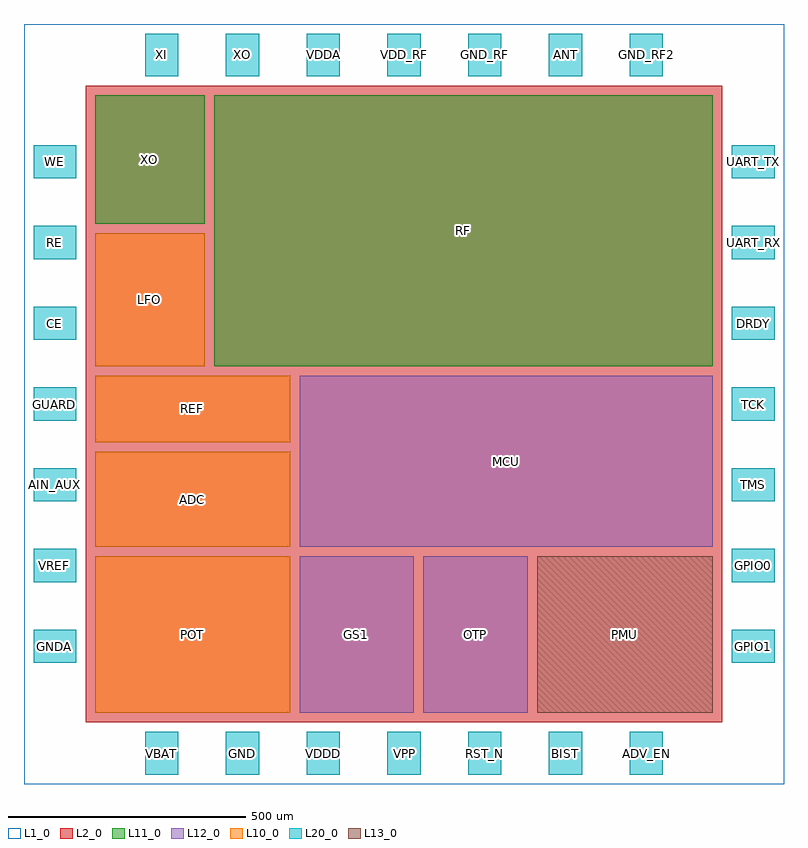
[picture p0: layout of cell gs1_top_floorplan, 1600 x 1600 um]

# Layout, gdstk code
import gdstk
lib = gdstk.Library(unit=1e-6, precision=1e-09)
def R(c, l, rs):  # rectangles x0, y0, x1, y1
    for r in rs: c.add(gdstk.rectangle(r[:2], r[2:], *l))
def A(c, l, x, y, w, h, nx, ny, dx, dy):  # array of equal rectangles
    R(c, l, [(x+i*dx, y+j*dy, x+i*dx+w, y+j*dy+h) for i in range(nx) for j in range(ny)])
L1_0 = (1, 0)
L2_0 = (2, 0)
L10_0 = (10, 0)
L11_0 = (11, 0)
L12_0 = (12, 0)
L13_0 = (13, 0)
L20_0 = (20, 0)

gs1_top_floorplan = lib.new_cell('gs1_top_floorplan')
R(gs1_top_floorplan, L1_0, [(0,0,1600,1600)])
R(gs1_top_floorplan, L2_0, [(130,130,1470,1470)])
R(gs1_top_floorplan, L10_0, [(150,150,560,480), (150,500,560,700), (150,720,560,860), (150,880,380,1160)])
R(gs1_top_floorplan, L11_0, [(400,880,1450,1450), (150,1180,380,1450)])
R(gs1_top_floorplan, L12_0, [(580,150,820,480), (840,150,1060,480), (580,500,1450,860)])
R(gs1_top_floorplan, L13_0, [(1080,150,1450,480)])
A(gs1_top_floorplan, L20_0, 255, 20, 70, 90, 7, 2, 170, 1470)
A(gs1_top_floorplan, L20_0, 20, 255, 90, 70, 1, 7, 0, 170)
A(gs1_top_floorplan, L20_0, 1490, 255, 90, 70, 1, 7, 0, 170)
gs1_top_floorplan.add(gdstk.Label('RF', (925,1165), layer=63, texttype=0))
gs1_top_floorplan.add(gdstk.Label('XO', (265,1315), layer=63, texttype=0))
gs1_top_floorplan.add(gdstk.Label('LFO', (265,1020), layer=63, texttype=0))
gs1_top_floorplan.add(gdstk.Label('REF', (355,790), layer=63, texttype=0))
gs1_top_floorplan.add(gdstk.Label('ADC', (355,600), layer=63, texttype=0))
gs1_top_floorplan.add(gdstk.Label('POT', (355,315), layer=63, texttype=0))
gs1_top_floorplan.add(gdstk.Label('MCU', (1015,680), layer=63, texttype=0))
gs1_top_floorplan.add(gdstk.Label('GS1', (700,315), layer=63, texttype=0))
gs1_top_floorplan.add(gdstk.Label('OTP', (950,315), layer=63, texttype=0))
gs1_top_floorplan.add(gdstk.Label('PMU', (1265,315), layer=63, texttype=0))
gs1_top_floorplan.add(gdstk.Label('WE', (65,1310), layer=63, texttype=0))
gs1_top_floorplan.add(gdstk.Label('RE', (65,1140), layer=63, texttype=0))
gs1_top_floorplan.add(gdstk.Label('CE', (65,970), layer=63, texttype=0))
gs1_top_floorplan.add(gdstk.Label('GUARD', (65,800), layer=63, texttype=0))
gs1_top_floorplan.add(gdstk.Label('AIN_AUX', (65,630), layer=63, texttype=0))
gs1_top_floorplan.add(gdstk.Label('VREF', (65,460), layer=63, texttype=0))
gs1_top_floorplan.add(gdstk.Label('GNDA', (65,290), layer=63, texttype=0))
gs1_top_floorplan.add(gdstk.Label('VBAT', (290,65), layer=63, texttype=0))
gs1_top_floorplan.add(gdstk.Label('GND', (460,65), layer=63, texttype=0))
gs1_top_floorplan.add(gdstk.Label('VDDD', (630,65), layer=63, texttype=0))
gs1_top_floorplan.add(gdstk.Label('VPP', (800,65), layer=63, texttype=0))
gs1_top_floorplan.add(gdstk.Label('RST_N', (970,65), layer=63, texttype=0))
gs1_top_floorplan.add(gdstk.Label('BIST', (1140,65), layer=63, texttype=0))
gs1_top_floorplan.add(gdstk.Label('ADV_EN', (1310,65), layer=63, texttype=0))
gs1_top_floorplan.add(gdstk.Label('GPIO1', (1535,290), layer=63, texttype=0))
gs1_top_floorplan.add(gdstk.Label('GPIO0', (1535,460), layer=63, texttype=0))
gs1_top_floorplan.add(gdstk.Label('TMS', (1535,630), layer=63, texttype=0))
gs1_top_floorplan.add(gdstk.Label('TCK', (1535,800), layer=63, texttype=0))
gs1_top_floorplan.add(gdstk.Label('DRDY', (1535,970), layer=63, texttype=0))
gs1_top_floorplan.add(gdstk.Label('UART_RX', (1535,1140), layer=63, texttype=0))
gs1_top_floorplan.add(gdstk.Label('UART_TX', (1535,1310), layer=63, texttype=0))
gs1_top_floorplan.add(gdstk.Label('GND_RF2', (1310,1535), layer=63, texttype=0))
gs1_top_floorplan.add(gdstk.Label('ANT', (1140,1535), layer=63, texttype=0))
gs1_top_floorplan.add(gdstk.Label('GND_RF', (970,1535), layer=63, texttype=0))
gs1_top_floorplan.add(gdstk.Label('VDD_RF', (800,1535), layer=63, texttype=0))
gs1_top_floorplan.add(gdstk.Label('VDDA', (630,1535), layer=63, texttype=0))
gs1_top_floorplan.add(gdstk.Label('XO', (460,1535), layer=63, texttype=0))
gs1_top_floorplan.add(gdstk.Label('XI', (290,1535), layer=63, texttype=0))

lib.write_gds('gs1_top_floorplan.gds')
